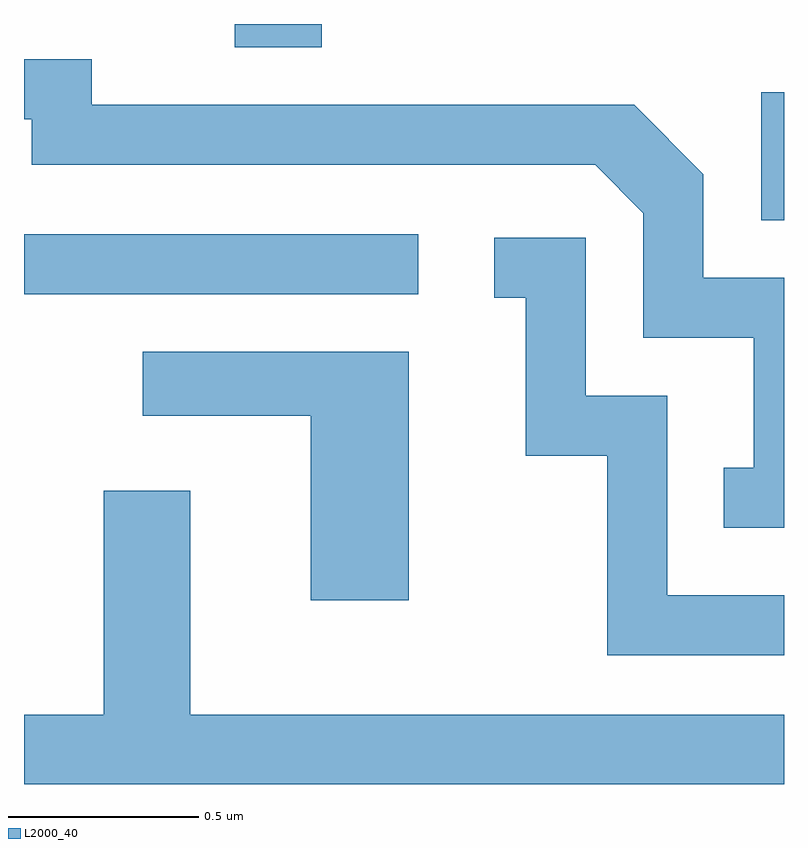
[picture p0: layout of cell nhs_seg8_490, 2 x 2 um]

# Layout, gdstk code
import gdstk
lib = gdstk.Library(unit=1e-6, precision=1e-09)
def R(c, l, rs):  # rectangles x0, y0, x1, y1
    for r in rs: c.add(gdstk.rectangle(r[:2], r[2:], *l))
def P(c, l, *ps):  # polygons
    for p in ps: c.add(gdstk.Polygon(p, *l))
L2000_40 = (2000, 40)

nhs_seg8_490 = lib.new_cell('nhs_seg8_490')
R(nhs_seg8_490, L2000_40, [(188.611,1886.631,189.648,1886.789), (190.551,1886.826,190.611,1887.163), (189.166,1887.281,189.394,1887.342)])
P(nhs_seg8_490, L2000_40, [(190.611,1886.674),(190.399,1886.674),(190.399,1886.947),(190.217,1887.129),(188.789,1887.129),(188.789,1887.249),(188.611,1887.249),(188.611,1887.091),(188.631,1887.091),(188.631,1886.971),(190.114,1886.971),(190.241,1886.844),(190.241,1886.516),(190.531,1886.516),(190.531,1886.174),(190.453,1886.174),(190.453,1886.016),(190.611,1886.016)],
  [(190.611,1885.839),(190.304,1885.839),(190.304,1886.364),(190.089,1886.364),(190.089,1886.779),(189.848,1886.779),(189.848,1886.621),(189.931,1886.621),(189.931,1886.206),(190.146,1886.206),(190.146,1885.681),(190.611,1885.681)],
  [(189.624,1886.479),(188.923,1886.479),(188.923,1886.311),(189.366,1886.311),(189.366,1885.826),(189.624,1885.826)],
  [(190.611,1885.524),(189.049,1885.524),(189.049,1886.114),(188.821,1886.114),(188.821,1885.524),(188.611,1885.524),(188.611,1885.342),(190.611,1885.342)])

lib.write_gds('nhs_seg8_490.gds')
